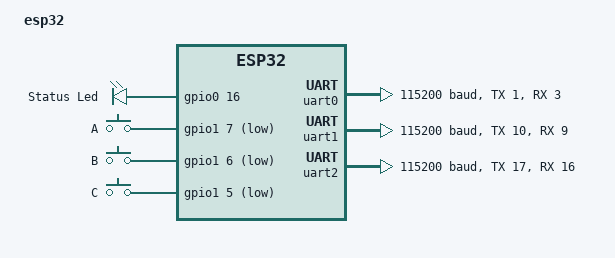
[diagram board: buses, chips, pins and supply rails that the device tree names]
/*
 * Copyright (c) 2019 Intel Corporation.
 *
 * SPDX-License-Identifier: Apache-2.0
 */
/dts-v1/;

#include <espressif/esp32.dtsi>

/ {
	model = "esp32";
	compatible = "espressif,esp32";

	aliases {
		uart-0 = &uart0;
		sw0 = &b_button;
		led0 = &blue_led;
	};

	chosen {
		zephyr,sram = &sram0;
		zephyr,console = &uart0;
		zephyr,shell-uart = &uart0;
	};
	
	leds {
		compatible = "gpio-leds";
		blue_led: led {
			gpios = <&gpio0 16 GPIO_ACTIVE_HIGH>;
			label = "Status Led";
		};
	};

	gpio_keys {
		compatible = "gpio-keys";

		a_button: a_button {
			label = "A";
			gpios = <&gpio1 7 GPIO_ACTIVE_LOW>;
		};
		b_button: b_button {
			label = "B";
			gpios = <&gpio1 6 GPIO_ACTIVE_LOW>;
		};
		c_button: c_button {
			label = "C";
			gpios = <&gpio1 5 GPIO_ACTIVE_LOW>;
		};
	};
};

&cpu0 {
	clock-frequency = <40000000>;
};

&cpu1 {
	clock-frequency = <40000000>;
};

&uart0 {
	status = "okay";
	current-speed = <115200>;
	tx-pin = <1>;
	rx-pin = <3>;
	rts-pin = <22>;
	cts-pin = <19>;
};

&uart1 {
	current-speed = <115200>;
	tx-pin = <10>;
	rx-pin = <9>;
	rts-pin = <11>;
	cts-pin = <6>;
	hw-flow-control;
};

&uart2 {
	current-speed = <115200>;
	tx-pin = <17>;
	rx-pin = <16>;
	rts-pin = <7>;
	cts-pin = <8>;
	hw-flow-control;
};
